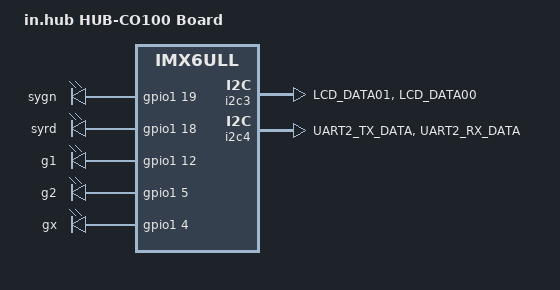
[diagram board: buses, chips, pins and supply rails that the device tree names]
// SPDX-License-Identifier: GPL-2.0-only
/*
 * Copyright 2023 in.hub GmbH
 */

/dts-v1/;

#include "imx6ull-inhub-xx100.dtsi"

/ {
	model = "in.hub HUB-CO100 Board";
	compatible = "inhub,hub-co100", "fsl,imx6ull";

	leds {
		compatible = "gpio-leds";

		system_green {
			label = "sygn";
			gpios = <&gpio1 19 0x0>;
			default-state = "on";
		};

		system_red {
			label = "syrd";
			gpios = <&gpio1 18 0x0>;
			default-state = "off";
			linux,default-trigger = "nand-disk";
		};

		g1 {
			label = "g1";
			gpios = <&gpio1 12 0x0>;
			default-state = "off";
		};

		g2 {
			label = "g2";
			gpios = <&gpio1 5 0x0>;
			default-state = "off";
		};

		gx {
			label = "gx";
			gpios = <&gpio1 4 0x0>;
			default-state = "off";
		};
	};
};

&iomuxc {
	pinctrl-0 = <&pinctrl_gpio1 &pinctrl_gpio2 &pinctrl_gpio3
		&pinctrl_gpio4 &pinctrl_gpio5 &pinctrl_gpio6
		&pinctrl_system_led &pinctrl_led &pinctrl_sensor_enable>;

	pinctrl_sensor_enable: sensor-enable-grp {
		fsl,pins = <
			MX6UL_PAD_LCD_DATA05__GPIO3_IO10	0x74 /* SODIMM 72 */
			MX6UL_PAD_LCD_DATA10__GPIO3_IO15	0x74 /* SODIMM 74 */
		>;
	};

	pinctrl_i2c3: i2c3-grp {
		fsl,pins = <
			MX6UL_PAD_LCD_DATA01__I2C3_SCL	0x4001b8b0 /* SODIMM 70 */
			MX6UL_PAD_LCD_DATA00__I2C3_SDA	0x4001b8b0 /* SODIMM 76 */
		>;
	};

	pinctrl_i2c4: i2c4-grp {
		fsl,pins = <
			MX6UL_PAD_UART2_TX_DATA__I2C4_SCL	0x4001b8b0 /* SODIMM 36 */
			MX6UL_PAD_UART2_RX_DATA__I2C4_SDA	0x4001b8b0 /* SODIMM 38 */
		>;
	};

	pinctrl_led: led-grp {
		fsl,pins = <
			MX6UL_PAD_GPIO1_IO04__GPIO1_IO04	0x74 /* SODIMM 19 */
			MX6UL_PAD_GPIO1_IO05__GPIO1_IO05	0x74 /* SODIMM 21 */
			MX6UL_PAD_JTAG_TDO__GPIO1_IO12		0x74 /* SODIMM 23 */
		>;
	};
};

&i2c3 {
	status = "okay";
	pinctrl-names = "default";
	pinctrl-0 = <&pinctrl_i2c3>;
};

&i2c4 {
	status = "okay";
	pinctrl-names = "default";
	pinctrl-0 = <&pinctrl_i2c4>;
};
